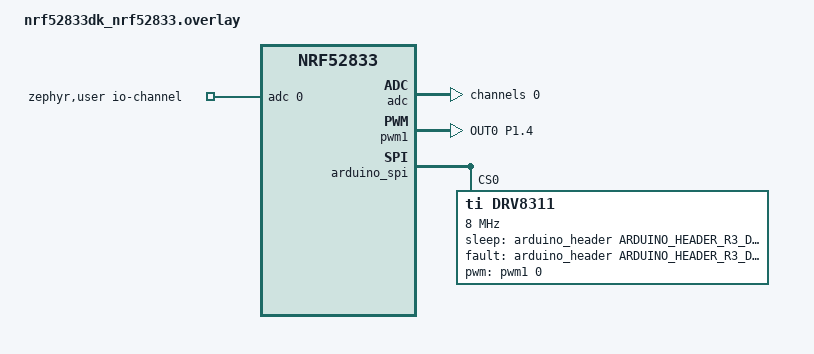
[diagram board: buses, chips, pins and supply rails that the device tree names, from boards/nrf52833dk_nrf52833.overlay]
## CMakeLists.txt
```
cmake_minimum_required(VERSION 3.20)

# for global installs
find_package(Zephyr REQUIRED HINTS $ENV{ZEPHYR_BASE})

# populated the $PROJECT_NAME var and this is what the output files are named 
project(Affectrum)

# app is a predesignated target that zephyr uses
target_sources(app PRIVATE
    src/main.c
    src/BLE/BLE.c
    src/BLE/gatt.c
    src/motors/motors.c
    src/motors/foc.c
    src/load-cell/loadCell.c
    # TEMPORARY: Button 1 simulates a dispense (remove when real dispensing exists)
    src/test/test_dispense.c
)


#[[
Example from my capstone project:
cmake_minimum_required(VERSION 3.22)

find_package(Zephyr REQUIRED HINTS $ENV{ZEPHYR_BASE})
project(firepod)

# Include dirs so the Bosch API header is visible
target_include_directories(app PRIVATE
    ${CMAKE_CURRENT_SOURCE_DIR}/src
    ${CMAKE_CURRENT_SOURCE_DIR}/src/bosch/BME68x_SensorAPI
)

# All source files, including the Bosch driver and your stubs
target_sources(app PRIVATE
    src/main.c
    src/sensor_thread.c
    src/lora_thread.c
    src/base_station_thread.c
    src/bme688_stubs.c
    src/bosch/BME68x_SensorAPI/bme68x.c
)
]]
```

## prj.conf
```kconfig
# add desired CONFIGs here
CONFIG_BT=y
CONFIG_BT_PERIPHERAL=y
CONFIG_BT_DEVICE_NAME="Kyle's Test Kit"
CONFIG_LOG=y

# Translate Bluetooth HCI error/reason codes into readable names (bt_hci_err_to_str)
CONFIG_BT_HCI_ERR_TO_STR=y

# Pill service: let phones send the 34-byte pill template.
# Bigger ATT MTU (65) so it fits in one write when the phone agrees to it...
CONFIG_BT_BUF_ACL_RX_SIZE=69
CONFIG_BT_L2CAP_TX_MTU=65
# ...and long (prepare) writes as a fallback for phones that stay at the default 23
CONFIG_BT_ATT_PREPARE_COUNT=4

#Motor control
CONFIG_SPI=y
CONFIG_PWM=y

# FOC does float math every loop: use the nRF52833's hardware FPU instead of slow software math,
# and save FPU registers between threads so the FOC thread's floats don't get corrupted
CONFIG_FPU=y
CONFIG_FPU_SHARING=y
# lets LOG_INF print floats with %f
CONFIG_CBPRINTF_FP_SUPPORT=y

#Load Cell
CONFIG_ADC=y
```

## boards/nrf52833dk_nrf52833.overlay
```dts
// TI DRV8311P motor driver wired to the nRF52833 DK Arduino header.
// AD0 and AD1 are tied to GND, which gives this DRV8311P tSPI device ID 0.
#include <zephyr/dt-bindings/pwm/pwm.h>

//For load cell
#include <zephyr/dt-bindings/adc/adc.h>
#include <zephyr/dt-bindings/adc/nrf-saadc.h>

/ {
    zephyr,user {
        io-channels = <&adc 0>;
    };
};

&adc {
    #address-cells = <1>;
    #size-cells = <0>;
    status = "okay";

    channel@0 {
        reg = <0>;
        /* gain 1/6 with the 0.6 V internal reference measures 0 to 3.6 V.
         * Once you know the amp output stays under ~1 V, ADC_GAIN_1_2 (0 to 1.2 V) gives finer steps. */
        zephyr,gain = "ADC_GAIN_1_6";
        zephyr,reference = "ADC_REF_INTERNAL";
        zephyr,acquisition-time = <ADC_ACQ_TIME(ADC_ACQ_TIME_MICROSECONDS, 40)>;
        /* single-ended: the NE5532 amp output on AIN0 (P0.02), measured against GND */
        zephyr,input-positive = <NRF_SAADC_AIN0>;
        zephyr,resolution = <14>;
        zephyr,oversampling = <4>;   /* 2^4 = 16 samples averaged per reading */
    };
};

&pinctrl {
	// PWM1 channel 0 drives P1.04 (Arduino D3). PWM0 is left alone because the board uses it for LED1.
	pwm1_default: pwm1_default {
		group1 {
			psels = <NRF_PSEL(PWM_OUT0, 1, 4)>;
		};
	};

	pwm1_sleep: pwm1_sleep {
		group1 {
			psels = <NRF_PSEL(PWM_OUT0, 1, 4)>;
			low-power-enable;
		};
	};
};

&pwm1 {
	status = "okay";
	pinctrl-0 = <&pwm1_default>;
	pinctrl-1 = <&pwm1_sleep>;
	pinctrl-names = "default", "sleep";
};

// arduino_spi is SPIM3: D13 SCK, D12 MISO, D11 MOSI, and chip select 0 is D10
&arduino_spi {
	drv8311: drv8311@0 {
		compatible = "ti,drv8311";
		reg = <0>;                     // use chip select 0 (D10 -> nSCS)
		spi-max-frequency = <8000000>; // 8 MHz (the chip allows up to 10 MHz); one 32-bit frame takes 4 us

		pwms = <&pwm1 0 PWM_KHZ(20) PWM_POLARITY_NORMAL>;                      // D3 -> PWM_SYNC
		sleep-gpios = <&arduino_header ARDUINO_HEADER_R3_D4 GPIO_ACTIVE_LOW>;   // D4 -> nSLEEP
		fault-gpios = <&arduino_header ARDUINO_HEADER_R3_D2 (GPIO_ACTIVE_LOW | GPIO_PULL_UP)>; // D2 <- nFAULT
	};
};
```

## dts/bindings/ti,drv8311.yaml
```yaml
# Tells the devicetree what a "ti,drv8311" node is allowed to contain.
# Zephyr has no DRV8311 driver, so this only describes the wiring; src/motor/motor.c does the talking.
description: TI DRV8311P three-phase BLDC motor driver with tSPI and internal PWM generation

compatible: "ti,drv8311"

# adds reg, spi-max-frequency, etc. and makes this node a child of an SPI bus
include: spi-device.yaml

properties:
  pwms:
    type: phandle-array
    required: true
    description: PWM output wired to PWM_SYNC. The DRV8311 uses it to calibrate its own PWM clock.

  sleep-gpios:
    type: phandle-array
    required: true
    description: Wired to nSLEEP. Flag it GPIO_ACTIVE_LOW so "active" means asleep.

  fault-gpios:
    type: phandle-array
    required: true
    description: nFAULT output (open drain, low when a fault is latched).
```

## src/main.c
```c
// #include <stdio.h>
#include <zephyr/kernel.h>
// zephyr/device.h is included eventually through kernel.h
#include <zephyr/drivers/gpio.h>
#include <zephyr/logging/log.h>

// quotes (not <>) tell the compiler to look relative to this file first, which is how it finds our own headers
#include "BLE/BLE.h"
#include "load-cell/loadCell.h"

// This is accessing the DeviceTree node through its label (can see the entire devicetree in generated zephyr.dts file in the build directory)
#define LED2 DT_ALIAS(led0)

// 'gpios' refers to the property name within the led0 node, which is itself inside the leds parent node in the devicetree
// you can see this^^ in code if you search for the 'zephyr/boards/nordic/nrf54l15dk/nrf54l15dk_common.dtsi' file
static const struct gpio_dt_spec led_2 = GPIO_DT_SPEC_GET(LED2, gpios);

LOG_MODULE_REGISTER(app);

/* ---- Load Cell Configuration ------------------------------------------------------ */

/* Set to 1 to run the calibration routine at boot, then copy the printed
 * scale factor into CAL_COUNTS_PER_GRAM and set this back to 0. */
#define CALIBRATION_MODE        0

/* Mass you will place on the cell during calibration (grams). */
#define CAL_KNOWN_MASS_G        50.0f

/* Calibration countdowns (seconds): time to empty the cell before taring,
 * then time to place the known mass and let it stop wobbling. */
#define CAL_EMPTY_WAIT_S        5
#define CAL_SETTLE_S            10

/* Scale factor from a previous calibration run (counts per gram).
 * Replace this after calibrating. */
#define CAL_COUNTS_PER_GRAM     1.0f

#define TARE_SAMPLES            64      /* averaging for the zero point */
#define CAL_SAMPLES             64      /* averaging for calibration */
#define READ_SAMPLES            16      /* averaging for each reading */
#define SAMPLE_PERIOD_MS        100

int main(void)
{
    // start advertising first; the LED keeps blinking either way so we can tell the board is alive
    if (ble_init() != 0)
    {
        LOG_ERR("BLE setup failed, continuing without it\n");
    }

    int err;

	LOG_INF("Load cell demo starting");

	err = loadcell_init();
	if (err) {
		LOG_ERR("Load cell init failed (%d)", err);
		return err;
	}

#if CALIBRATION_MODE
	err = loadcell_calibrate_guided(CAL_KNOWN_MASS_G, CAL_EMPTY_WAIT_S,
					CAL_SETTLE_S, CAL_SAMPLES);
	if (err) {
		LOG_ERR("Calibration failed (%d)", err);
		return err;
	}

	LOG_INF("Set CAL_COUNTS_PER_GRAM to %.4f, set CALIBRATION_MODE to 0, "
		"and rebuild", (double)loadcell_get_scale());
#else
	loadcell_set_scale(CAL_COUNTS_PER_GRAM);

	LOG_INF("Keep the load cell empty, taring...");
	k_sleep(K_SECONDS(2));          /* let power and signal settle */

	err = loadcell_tare(TARE_SAMPLES);
	if (err) {
		LOG_ERR("Tare failed (%d)", err);
		return err;
	}
#endif

	LOG_INF("Reading weight (scale = %.4f counts/g)",
		(double)loadcell_get_scale());

	while (1) {
		float grams;

		err = loadcell_read_grams(READ_SAMPLES, &grams);
		if (err) {
			LOG_ERR("Read failed (%d)", err);
		} else {
			LOG_INF("Weight: %.2f g", (double)grams);
		}

		k_msleep(SAMPLE_PERIOD_MS);
	}

	return 0;
}

    // // led_0.port is used because you need to check if the gpio controller itself is ready to be used, if you just do led_0.pin you will get a number like '9'
    // if (!device_is_ready(led_2.port))
    // {
    //     return 0;
    // }

    // int state = 0;

    // int ret;
    // // configuration of led_0 pin
    // ret = gpio_pin_configure_dt(&led_2, GPIO_OUTPUT);

    // if (ret != 0)
    // {
    //     return 0;
    // }

    // while (true)
    // {
    //     state = !state;
    //     ret = gpio_pin_set_dt(&led_2, state);
    //     if (ret != 0)
    //     {
    //         return 0;
    //     }
    //     LOG_DBG("LED is now in state: %d", state);

    //     k_msleep(4000);
    // }

    // return 0;
```
